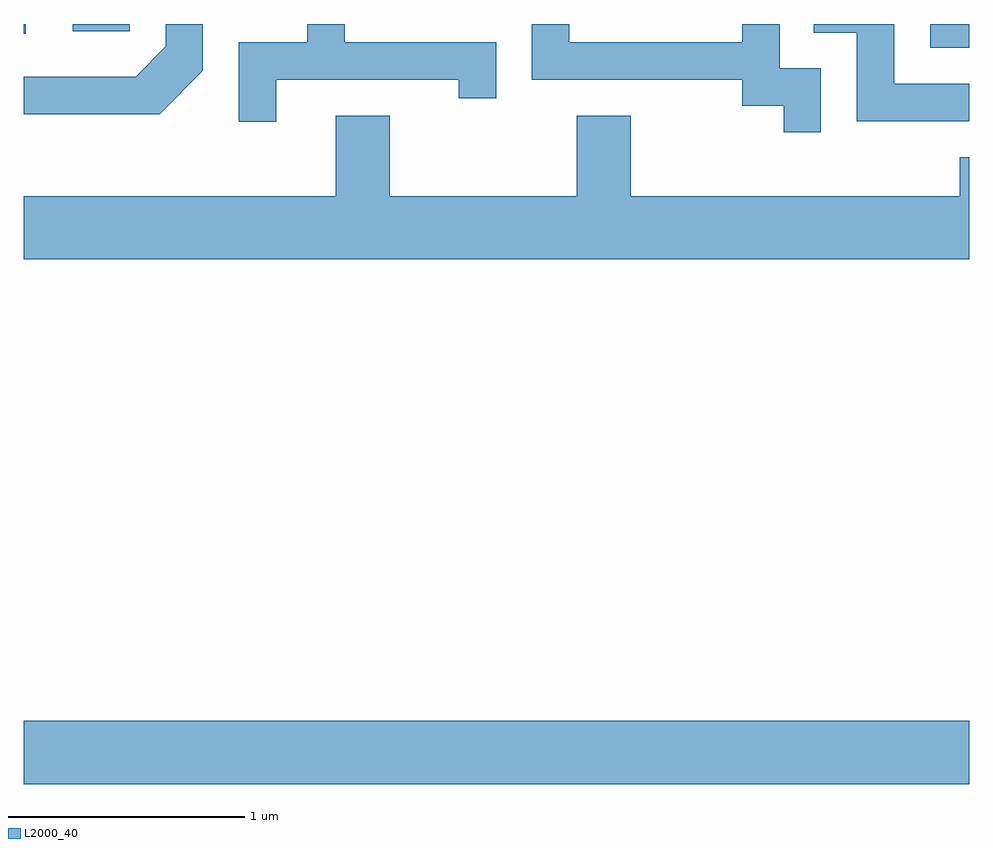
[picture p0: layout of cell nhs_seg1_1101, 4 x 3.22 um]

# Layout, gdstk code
import gdstk
lib = gdstk.Library(unit=1e-6, precision=1e-09)
def R(c, l, rs):  # rectangles x0, y0, x1, y1
    for r in rs: c.add(gdstk.rectangle(r[:2], r[2:], *l))
def P(c, l, *ps):  # polygons
    for p in ps: c.add(gdstk.Polygon(p, *l))
L2000_40 = (2000, 40)

nhs_seg1_1101 = lib.new_cell('nhs_seg1_1101')
R(nhs_seg1_1101, L2000_40, [(219.611,868.496,223.611,868.764), (223.446,871.611,223.611,871.712), (219.611,871.671,219.618,871.712), (219.818,871.681,220.059,871.712)])
P(nhs_seg1_1101, L2000_40, [(220.369,871.514),(220.369,871.712),(220.211,871.712),(220.211,871.617),(220.084,871.489),(219.611,871.489),(219.611,871.331),(220.187,871.331)],
  [(220.679,871.476),(221.451,871.476),(221.451,871.398),(221.609,871.398),(221.609,871.634),(220.969,871.634),(220.969,871.712),(220.811,871.712),(220.811,871.634),(220.521,871.634),(220.521,871.298),(220.679,871.298)],
  [(222.984,871.524),(222.809,871.524),(222.809,871.712),(222.651,871.712),(222.651,871.634),(221.919,871.634),(221.919,871.712),(221.761,871.712),(221.761,871.476),(222.651,871.476),(222.651,871.366),(222.826,871.366),(222.826,871.253),(222.984,871.253)],
  [(223.611,871.459),(223.294,871.459),(223.294,871.712),(222.953,871.712),(222.953,871.676),(223.136,871.676),(223.136,871.301),(223.611,871.301)],
  [(223.611,871.149),(223.571,871.149),(223.571,870.984),(222.179,870.984),(222.179,871.324),(221.951,871.324),(221.951,870.984),(221.159,870.984),(221.159,871.324),(220.931,871.324),(220.931,870.984),(219.611,870.984),(219.611,870.716),(223.611,870.716)])

lib.write_gds('nhs_seg1_1101.gds')
